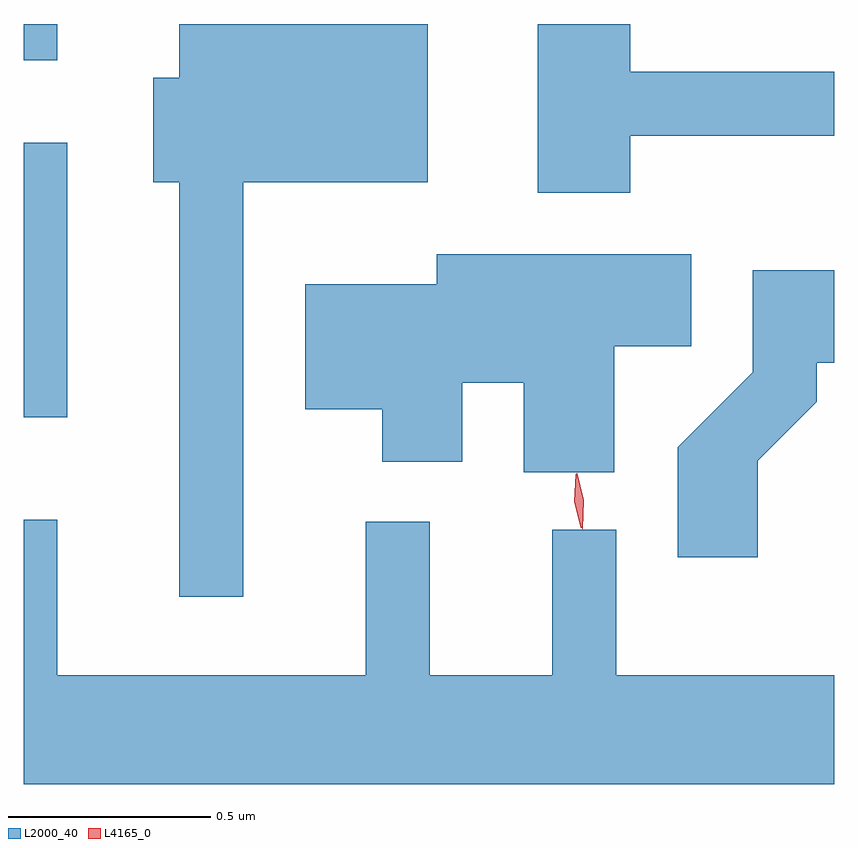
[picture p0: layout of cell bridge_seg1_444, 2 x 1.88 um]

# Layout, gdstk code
import gdstk
lib = gdstk.Library(unit=1e-6, precision=1e-09)
def R(c, l, rs):  # rectangles x0, y0, x1, y1
    for r in rs: c.add(gdstk.rectangle(r[:2], r[2:], *l))
def P(c, l, *ps):  # polygons
    for p in ps: c.add(gdstk.Polygon(p, *l))
L2000_40 = (2000, 40)
L4165_0 = (4165, 0)

bridge_seg1_444 = lib.new_cell('bridge_seg1_444')
R(bridge_seg1_444, L2000_40, [(350.952,860.521,351.059,861.199), (350.952,861.403,351.034,861.492)])
P(bridge_seg1_444, L2000_40, [(352.449,861.216),(352.952,861.216),(352.952,861.374),(352.449,861.374),(352.449,861.492),(352.221,861.492),(352.221,861.076),(352.449,861.076)],
  [(351.494,861.101),(351.949,861.101),(351.949,861.492),(351.336,861.492),(351.336,861.359),(351.271,861.359),(351.271,861.101),(351.336,861.101),(351.336,860.078),(351.494,860.078)],
  [(352.409,860.696),(352.599,860.696),(352.599,860.924),(351.971,860.924),(351.971,860.849),(351.646,860.849),(351.646,860.541),(351.836,860.541),(351.836,860.411),(352.034,860.411),(352.034,860.606),(352.186,860.606),(352.186,860.386),(352.409,860.386)],
  [(352.764,860.414),(352.909,860.559),(352.909,860.656),(352.952,860.656),(352.952,860.884),(352.751,860.884),(352.751,860.632),(352.566,860.447),(352.566,860.176),(352.764,860.176)],
  [(352.952,859.884),(352.414,859.884),(352.414,860.243),(352.256,860.243),(352.256,859.884),(351.954,859.884),(351.954,860.263),(351.796,860.263),(351.796,859.884),(351.034,859.884),(351.034,860.268),(350.952,860.268),(350.952,859.616),(352.952,859.616)])
P(bridge_seg1_444, L4165_0, [(352.327,860.248),(352.327,860.249),(352.311,860.314),(352.314,860.38),(352.314,860.381),(352.315,860.38),(352.331,860.316),(352.328,860.249)],
  [(352.331,860.245),(352.33,860.246),(352.314,860.313),(352.317,860.383),(352.317,860.383),(352.318,860.383),(352.334,860.316),(352.331,860.246)])

lib.write_gds('bridge_seg1_444.gds')
